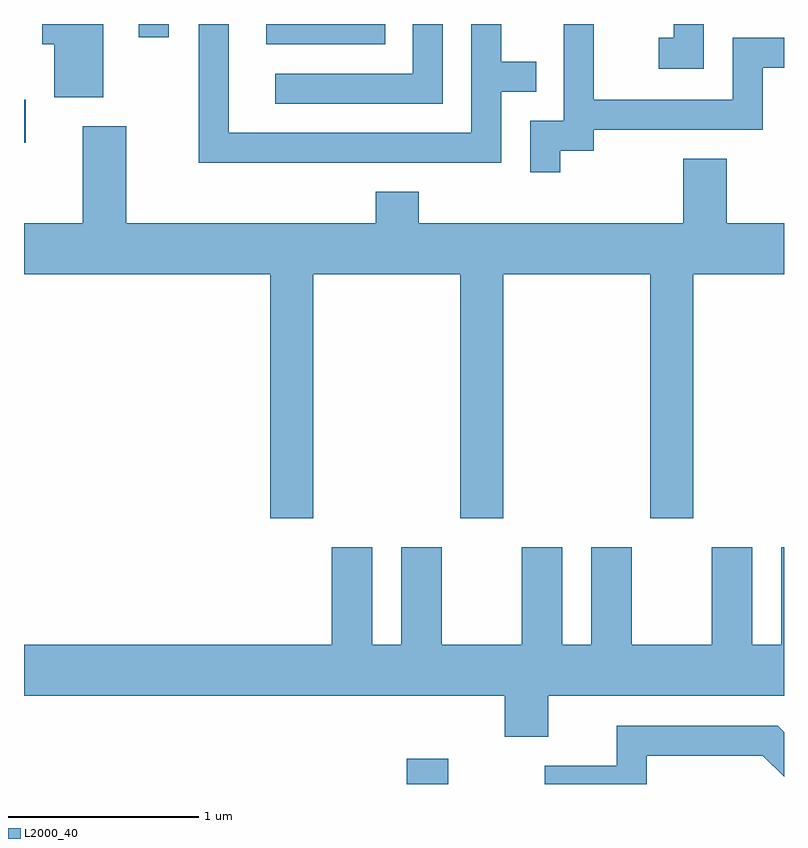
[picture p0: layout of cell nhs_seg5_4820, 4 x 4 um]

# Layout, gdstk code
import gdstk
lib = gdstk.Library(unit=1e-6, precision=1e-09)
def R(c, l, rs):  # rectangles x0, y0, x1, y1
    for r in rs: c.add(gdstk.rectangle(r[:2], r[2:], *l))
def P(c, l, *ps):  # polygons
    for p in ps: c.add(gdstk.Polygon(p, *l))
L2000_40 = (2000, 40)

nhs_seg5_4820 = lib.new_cell('nhs_seg5_4820')
R(nhs_seg5_4820, L2000_40, [(329.626,1494.072,329.844,1494.204), (327.611,1497.446,327.619,1497.674), (328.886,1497.966,329.513,1498.072), (328.216,1498.003,328.374,1498.072)])
P(nhs_seg5_4820, L2000_40, [(330.434,1497.406),(330.609,1497.406),(330.609,1497.516),(331.499,1497.516),(331.499,1497.841),(331.611,1497.841),(331.611,1497.999),(331.341,1497.999),(331.341,1497.674),(330.609,1497.674),(330.609,1498.072),(330.451,1498.072),(330.451,1497.564),(330.276,1497.564),(330.276,1497.293),(330.434,1497.293)],
  [(330.124,1497.716),(330.308,1497.716),(330.308,1497.874),(330.124,1497.874),(330.124,1498.072),(329.966,1498.072),(329.966,1497.499),(328.689,1497.499),(328.689,1498.072),(328.531,1498.072),(328.531,1497.341),(330.124,1497.341)],
  [(329.814,1498.072),(329.656,1498.072),(329.656,1497.809),(328.933,1497.809),(328.933,1497.651),(329.814,1497.651)],
  [(328.029,1498.072),(327.706,1498.072),(327.706,1497.966),(327.771,1497.966),(327.771,1497.686),(328.029,1497.686)],
  [(331.189,1498.072),(331.031,1498.072),(331.031,1497.999),(330.953,1497.999),(330.953,1497.836),(331.189,1497.836)],
  [(329.134,1496.756),(329.906,1496.756),(329.906,1495.471),(330.134,1495.471),(330.134,1496.756),(330.906,1496.756),(330.906,1495.471),(331.134,1495.471),(331.134,1496.756),(331.611,1496.756),(331.611,1497.024),(331.309,1497.024),(331.309,1497.364),(331.081,1497.364),(331.081,1497.024),(329.689,1497.024),(329.689,1497.189),(329.461,1497.189),(329.461,1497.024),(328.149,1497.024),(328.149,1497.534),(327.921,1497.534),(327.921,1497.024),(327.611,1497.024),(327.611,1496.756),(328.906,1496.756),(328.906,1495.471),(329.134,1495.471)],
  [(330.369,1494.536),(331.611,1494.536),(331.611,1495.319),(331.596,1495.319),(331.596,1494.804),(331.444,1494.804),(331.444,1495.319),(331.231,1495.319),(331.231,1494.804),(330.809,1494.804),(330.809,1495.319),(330.596,1495.319),(330.596,1494.804),(330.444,1494.804),(330.444,1495.319),(330.231,1495.319),(330.231,1494.804),(329.809,1494.804),(329.809,1495.319),(329.596,1495.319),(329.596,1494.804),(329.444,1494.804),(329.444,1495.319),(329.231,1495.319),(329.231,1494.804),(327.611,1494.804),(327.611,1494.536),(330.141,1494.536),(330.141,1494.321),(330.369,1494.321)],
  [(330.889,1494.221),(331.499,1494.221),(331.611,1494.109),(331.611,1494.345),(331.577,1494.379),(330.731,1494.379),(330.731,1494.169),(330.351,1494.169),(330.351,1494.072),(330.889,1494.072)])

lib.write_gds('nhs_seg5_4820.gds')
